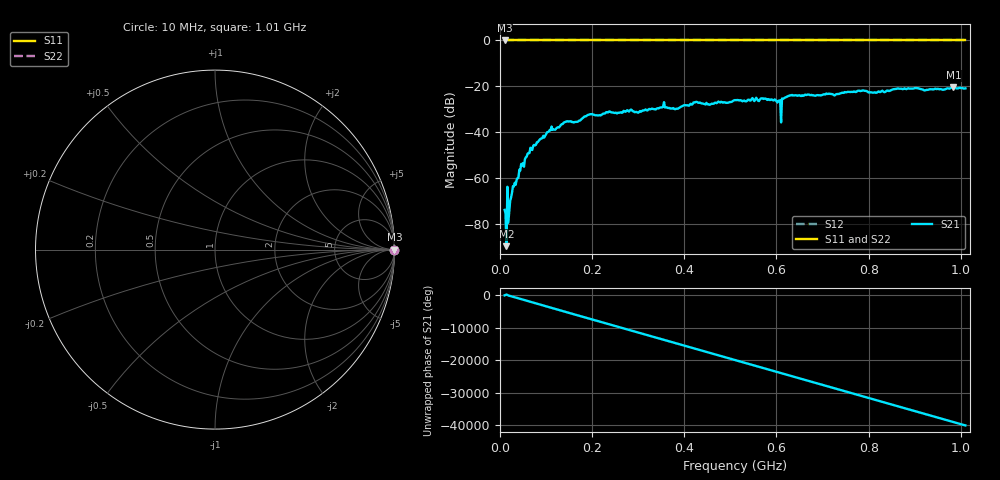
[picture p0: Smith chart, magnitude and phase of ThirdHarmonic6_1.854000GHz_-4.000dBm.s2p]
! 8/16/2025 10:25:34 PM
! C:\ANRITSUVNA\TEMP\TEMP.S2P
! CHANNEL.1
! TR.MEASUREMENT
! RAW.DATA
! RF.CORRECTION.OFF
! AVERAGING.OFF
! IF.BANDWIDTH: 5KHZ
! SWEEPTYPE:  FREQ.SWEEP(Linear)
! Reference Plane Port Info
! PORT:  PORT1  PORT2
! DISTANCE:  0  m  0  m
! TIME:  0  s  0  s
! PHASE.OFFSET:  0  deg.  0  deg.
! LOSS:  0  dB  0  dB
! REF.LOSS:  0  dB  0  dB
! REF.FREQ:  0  Hz  0  Hz
! Power Info
! POWER:  -20  dBm  -20  dBm
! EFF.POWER:  -20  dBm  -20  dBm
! SOURCE.ATTEN:  0  dB  0  dB
! TEST.ATTEN:  0  dB  0  dB
# GHZ S RI R 50.0
! FREQ.GHZ  S11RE  S11IM  S21RE  S21IM  S12RE  S12IM  S22RE  S22IM
!; PortSelection: Port_12
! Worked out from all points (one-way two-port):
!   501 points, 10 MHz to 1.01 GHz, reference 50 ohm
!   highest |S21| = -20.34 dB at 984 MHz (marker M1); lowest = -89.4 dB at 14 MHz (marker M2)
!   lowest |S11| = 0.0 dB at 10 MHz (marker M3)
!   |S11| at or under -10 dB: nowhere
!   |S22| runs from 0.0 to 0.0 dB; largest |S21 - S12| = 1.1
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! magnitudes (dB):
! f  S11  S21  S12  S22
! 10 MHz  0.0  -73.7  0.0  0.0
! 12 MHz  0.0  -75.1  0.0  0.0
! 14 MHz  0.0  -89.4  0.0  0.0
! 22 MHz  0.0  -69.8  0.0  0.0
! 28 MHz  0.0  -63.4  0.0  0.0
! 46 MHz  0.0  -53.7  0.0  0.0
! 70 MHz  0.0  -47.6  0.0  0.0
! 108 MHz  0.0  -38.9  0.0  0.0
! 178 MHz  0.0  -34.0  0.0  0.0
! 196 MHz  0.0  -32.0  0.0  0.0
! 344 MHz  0.0  -29.6  0.0  0.0
! 510 MHz  0.0  -25.9  0.0  0.0
! 572 MHz  0.0  -25.4  0.0  0.0
! 604 MHz  0.0  -26.2  0.0  0.0
! 606 MHz  0.0  -26.4  0.0  0.0
! 614 MHz  0.0  -25.3  0.0  0.0
! 616 MHz  0.0  -25.2  0.0  0.0
! 630 MHz  0.0  -23.8  0.0  0.0
! 678 MHz  0.0  -23.8  0.0  0.0
! 844 MHz  0.0  -22.0  0.0  0.0
! 984 MHz  0.0  -20.3  0.0  0.0
! 1.01 GHz  0.0  -20.8  0.0  0.0
